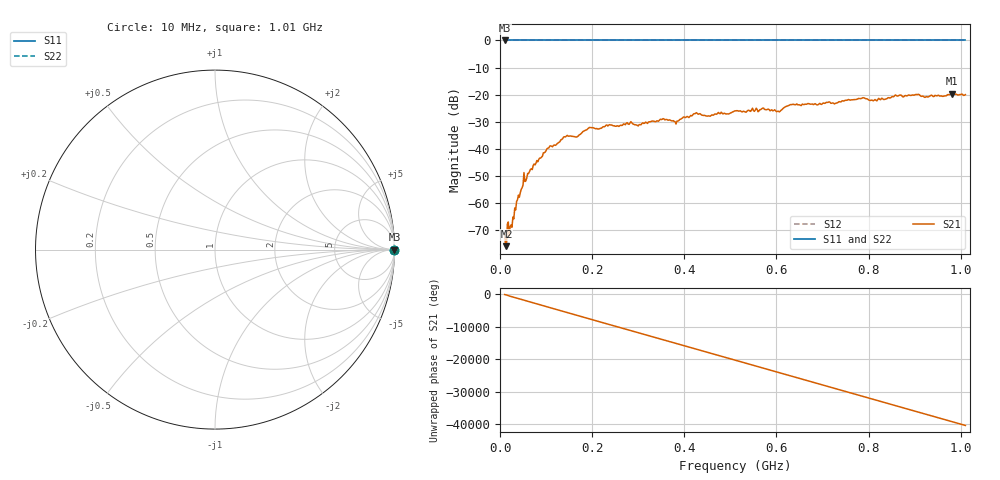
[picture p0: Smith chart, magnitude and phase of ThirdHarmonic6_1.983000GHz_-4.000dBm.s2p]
! 8/16/2025 11:50:25 PM
! C:\ANRITSUVNA\TEMP\TEMP.S2P
! CHANNEL.1
! TR.MEASUREMENT
! RAW.DATA
! RF.CORRECTION.OFF
! AVERAGING.OFF
! IF.BANDWIDTH: 5KHZ
! SWEEPTYPE:  FREQ.SWEEP(Linear)
! Reference Plane Port Info
! PORT:  PORT1  PORT2
! DISTANCE:  0  m  0  m
! TIME:  0  s  0  s
! PHASE.OFFSET:  0  deg.  0  deg.
! LOSS:  0  dB  0  dB
! REF.LOSS:  0  dB  0  dB
! REF.FREQ:  0  Hz  0  Hz
! Power Info
! POWER:  -20  dBm  -20  dBm
! EFF.POWER:  -20  dBm  -20  dBm
! SOURCE.ATTEN:  0  dB  0  dB
! TEST.ATTEN:  0  dB  0  dB
# GHZ S RI R 50.0
! FREQ.GHZ  S11RE  S11IM  S21RE  S21IM  S12RE  S12IM  S22RE  S22IM
!; PortSelection: Port_12
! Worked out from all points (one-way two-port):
!   501 points, 10 MHz to 1.01 GHz, reference 50 ohm
!   highest |S21| = -19.59 dB at 980 MHz (marker M1); lowest = -75.9 dB at 14 MHz (marker M2)
!   lowest |S11| = 0.0 dB at 10 MHz (marker M3)
!   |S11| at or under -10 dB: nowhere
!   |S22| runs from 0.0 to 0.0 dB; largest |S21 - S12| = 1.1
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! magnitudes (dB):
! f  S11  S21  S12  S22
! 10 MHz  0.0  -70.8  0.0  0.0
! 14 MHz  0.0  -75.9  0.0  0.0
! 24 MHz  0.0  -68.0  0.0  0.0
! 36 MHz  0.0  -59.4  0.0  0.0
! 48 MHz  0.0  -54.3  0.0  0.0
! 76 MHz  0.0  -45.9  0.0  0.0
! 106 MHz  0.0  -39.6  0.0  0.0
! 142 MHz  0.0  -35.6  0.0  0.0
! 166 MHz  0.0  -35.6  0.0  0.0
! 178 MHz  0.0  -34.0  0.0  0.0
! 196 MHz  0.0  -32.1  0.0  0.0
! 344 MHz  0.0  -29.8  0.0  0.0
! 382 MHz  0.0  -30.8  0.0  0.0
! 424 MHz  0.0  -26.9  0.0  0.0
! 452 MHz  0.0  -27.8  0.0  0.0
! 510 MHz  0.0  -25.9  0.0  0.0
! 604 MHz  0.0  -26.1  0.0  0.0
! 632 MHz  0.0  -23.7  0.0  0.0
! 678 MHz  0.0  -23.4  0.0  0.0
! 844 MHz  0.0  -21.1  0.0  0.0
! 980 MHz  0.0  -19.6  0.0  0.0
! 1.01 GHz  0.0  -20.0  0.0  0.0
